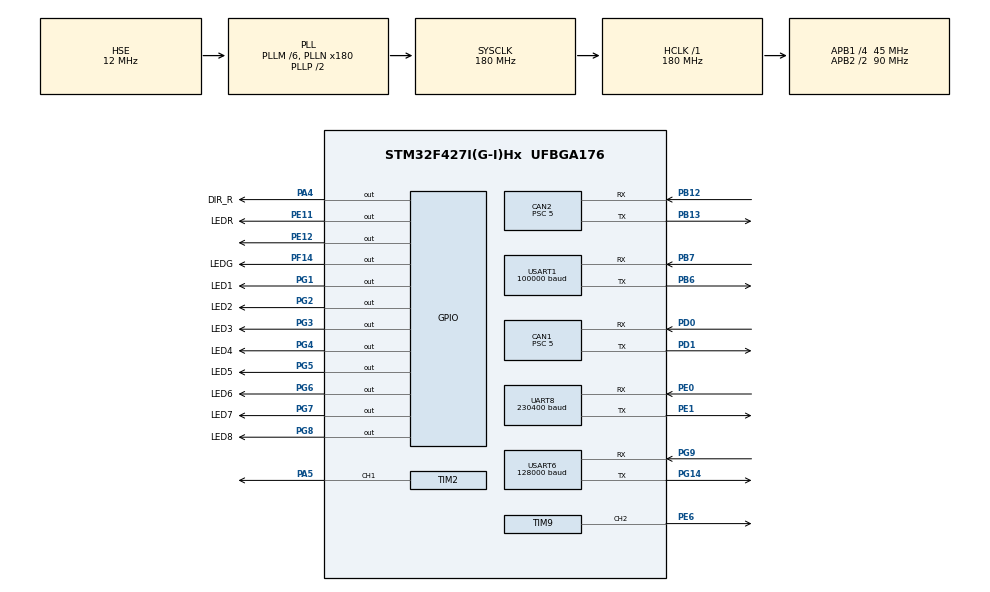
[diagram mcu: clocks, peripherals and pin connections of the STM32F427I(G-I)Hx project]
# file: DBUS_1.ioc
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CAN1.ABOM=DISABLE
CAN1.AWUM=DISABLE
CAN1.BS1=CAN_BS1_3TQ
CAN1.BS2=CAN_BS2_5TQ
CAN1.CalculateBaudRate=1000000
CAN1.CalculateTimeBit=1000
CAN1.CalculateTimeQuantum=111.11111111111111
CAN1.Mode=CAN_MODE_NORMAL
CAN1.NART=DISABLE
CAN1.Prescaler=5
CAN1.RFLM=DISABLE
CAN1.SJW=CAN_SJW_1TQ
CAN1.TTCM=DISABLE
CAN1.TXFP=DISABLE
CAN2.ABOM=DISABLE
CAN2.AWUM=DISABLE
CAN2.BS1=CAN_BS1_3TQ
CAN2.BS2=CAN_BS2_5TQ
CAN2.CalculateBaudRate=1000000
CAN2.CalculateTimeBit=1000
CAN2.CalculateTimeQuantum=111.11111111111111
CAN2.Mode=CAN_MODE_NORMAL
CAN2.NART=DISABLE
CAN2.Prescaler=5
CAN2.RFLM=DISABLE
CAN2.SJW=CAN_SJW_1TQ
CAN2.TTCM=DISABLE
CAN2.TXFP=DISABLE
Dma.Request0=UART8_RX
Dma.Request1=USART1_RX
Dma.Request2=USART6_RX
Dma.Request3=USART6_TX
Dma.UART8_RX.0.Direction=DMA_PERIPH_TO_MEMORY
Dma.UART8_RX.0.FIFOMode=DMA_FIFOMODE_DISABLE
Dma.UART8_RX.0.Instance=DMA1_Stream6
Dma.UART8_RX.0.MemDataAlignment=DMA_MDATAALIGN_BYTE
Dma.UART8_RX.0.MemInc=DMA_MINC_ENABLE
Dma.UART8_RX.0.Mode=DMA_NORMAL
Dma.UART8_RX.0.PeriphDataAlignment=DMA_PDATAALIGN_BYTE
Dma.UART8_RX.0.PeriphInc=DMA_PINC_DISABLE
Dma.UART8_RX.0.Priority=DMA_PRIORITY_VERY_HIGH
Dma.USART1_RX.1.Direction=DMA_PERIPH_TO_MEMORY
Dma.USART1_RX.1.FIFOMode=DMA_FIFOMODE_DISABLE
Dma.USART1_RX.1.Instance=DMA2_Stream2
Dma.USART1_RX.1.MemDataAlignment=DMA_MDATAALIGN_BYTE
Dma.USART1_RX.1.MemInc=DMA_MINC_ENABLE
Dma.USART1_RX.1.Mode=DMA_NORMAL
Dma.USART1_RX.1.PeriphDataAlignment=DMA_PDATAALIGN_BYTE
Dma.USART1_RX.1.PeriphInc=DMA_PINC_DISABLE
Dma.USART1_RX.1.Priority=DMA_PRIORITY_LOW
Dma.USART6_RX.2.Direction=DMA_PERIPH_TO_MEMORY
Dma.USART6_RX.2.FIFOMode=DMA_FIFOMODE_DISABLE
Dma.USART6_RX.2.Instance=DMA2_Stream1
Dma.USART6_RX.2.MemDataAlignment=DMA_MDATAALIGN_BYTE
Dma.USART6_RX.2.MemInc=DMA_MINC_ENABLE
Dma.USART6_RX.2.Mode=DMA_NORMAL
Dma.USART6_RX.2.PeriphDataAlignment=DMA_PDATAALIGN_BYTE
Dma.USART6_RX.2.PeriphInc=DMA_PINC_DISABLE
Dma.USART6_RX.2.Priority=DMA_PRIORITY_LOW
Dma.USART6_TX.3.Direction=DMA_MEMORY_TO_PERIPH
Dma.USART6_TX.3.FIFOMode=DMA_FIFOMODE_DISABLE
Dma.USART6_TX.3.Instance=DMA2_Stream6
Dma.USART6_TX.3.MemDataAlignment=DMA_MDATAALIGN_BYTE
Dma.USART6_TX.3.MemInc=DMA_MINC_ENABLE
Dma.USART6_TX.3.Mode=DMA_NORMAL
Dma.USART6_TX.3.PeriphDataAlignment=DMA_PDATAALIGN_BYTE
Dma.USART6_TX.3.PeriphInc=DMA_PINC_DISABLE
Dma.USART6_TX.3.Priority=DMA_PRIORITY_LOW
FREERTOS.HEAP_NUMBER=4
FREERTOS.INCLUDE_eTaskGetState=1
FREERTOS.INCLUDE_pcTaskGetTaskName=0
FREERTOS.INCLUDE_uxTaskGetStackHighWaterMark=1
FREERTOS.INCLUDE_uxTaskGetStackHighWaterMark2=0
FREERTOS.INCLUDE_uxTaskPriorityGet=1
FREERTOS.INCLUDE_vTaskCleanUpResources=0
FREERTOS.INCLUDE_vTaskDelay=1
FREERTOS.INCLUDE_vTaskDelayUntil=1
FREERTOS.INCLUDE_vTaskDelete=1
FREERTOS.INCLUDE_vTaskPrioritySet=1
FREERTOS.INCLUDE_vTaskSuspend=1
FREERTOS.INCLUDE_xEventGroupSetBitFromISR=0
FREERTOS.INCLUDE_xQueueGetMutexHolder=1
FREERTOS.INCLUDE_xSemaphoreGetMutexHolder=0
FREERTOS.INCLUDE_xTaskAbortDelay=0
FREERTOS.INCLUDE_xTaskGetCurrentTaskHandle=1
FREERTOS.INCLUDE_xTaskGetHandle=0
FREERTOS.INCLUDE_xTaskGetSchedulerState=1
FREERTOS.INCLUDE_xTaskResumeFromISR=1
FREERTOS.INCLUDE_xTimerPendFunctionCall=1
FREERTOS.Tasks01=recvRemote,24,512,RecvRemote,Default,NULL,Dynamic,NULL,NULL;defaultTask,24,512,StartDefaultTask,Default,NULL,Dynamic,NULL,NULL;RobotMove,24,512,StartRobotMove,Default,NULL,Dynamic,NULL,NULL
FREERTOS.configCHECK_FOR_STACK_OVERFLOW=0
FREERTOS.configENABLE_BACKWARD_COMPATIBILITY=1
FREERTOS.configENABLE_FPU=0
FREERTOS.configGENERATE_RUN_TIME_STATS=0
FREERTOS.configIDLE_SHOULD_YIELD=1
FREERTOS.configLIBRARY_LOWEST_INTERRUPT_PRIORITY=15
FREERTOS.configLIBRARY_MAX_SYSCALL_INTERRUPT_PRIORITY=5
FREERTOS.configMAX_CO_ROUTINE_PRIORITIES=2
FREERTOS.configMAX_TASK_NAME_LEN=16
FREERTOS.configMINIMAL_STACK_SIZE=128
FREERTOS.configQUEUE_REGISTRY_SIZE=8
FREERTOS.configRECORD_STACK_HIGH_ADDRESS=0
FREERTOS.configTICK_RATE_HZ=1000
FREERTOS.configTIMER_QUEUE_LENGTH=10
FREERTOS.configTIMER_TASK_PRIORITY=2
FREERTOS.configTIMER_TASK_STACK_DEPTH=256
FREERTOS.configTOTAL_HEAP_SIZE=15360
FREERTOS.configUSE_APPLICATION_TASK_TAG=0
FREERTOS.configUSE_COUNTING_SEMAPHORES=1
FREERTOS.configUSE_CO_ROUTINES=0
FREERTOS.configUSE_DAEMON_TASK_STARTUP_HOOK=0
FREERTOS.configUSE_IDLE_HOOK=0
FREERTOS.configUSE_MALLOC_FAILED_HOOK=0
FREERTOS.configUSE_MUTEXES=1
FREERTOS.configUSE_NEWLIB_REENTRANT=0
FREERTOS.configUSE_OS2_EVENTFLAGS_FROM_ISR=1
FREERTOS.configUSE_OS2_MUTEX=1
FREERTOS.configUSE_OS2_THREAD_ENUMERATE=1
FREERTOS.configUSE_OS2_THREAD_FLAGS=1
FREERTOS.configUSE_OS2_THREAD_SUSPEND_RESUME=1
FREERTOS.configUSE_OS2_TIMER=1
FREERTOS.configUSE_POSIX_ERRNO=0
FREERTOS.configUSE_PREEMPTION=1
FREERTOS.configUSE_RECURSIVE_MUTEXES=1
FREERTOS.configUSE_STATS_FORMATTING_FUNCTIONS=0
FREERTOS.configUSE_TASK_NOTIFICATIONS=1
FREERTOS.configUSE_TICKLESS_IDLE=0
FREERTOS.configUSE_TICK_HOOK=0
FREERTOS.configUSE_TRACE_FACILITY=1
FREERTOS.copyHeapFile=1
Mcu.Family=STM32F4
Mcu.Name=STM32F427I(G-I)Hx
Mcu.Package=UFBGA176
NVIC.CAN1_RX0_IRQn=true\:1\:0\:true\:false\:true\:false\:true\:true\:true
NVIC.CAN1_RX1_IRQn=true\:1\:0\:true\:false\:true\:false\:true\:true\:true
NVIC.CAN2_RX0_IRQn=true\:1\:0\:true\:false\:true\:false\:true\:true\:true
NVIC.CAN2_RX1_IRQn=true\:1\:0\:true\:false\:true\:false\:true\:true\:true
NVIC.DMA1_Stream6_IRQn=true\:5\:0\:false\:false\:true\:true\:false\:true\:true
NVIC.DMA2_Stream1_IRQn=true\:5\:0\:false\:false\:true\:true\:false\:true\:true
NVIC.DMA2_Stream2_IRQn=true\:5\:0\:false\:false\:true\:false\:true\:true\:true
NVIC.DMA2_Stream6_IRQn=true\:5\:0\:false\:false\:true\:true\:false\:true\:true
NVIC.PriorityGroup=NVIC_PRIORITYGROUP_4
NVIC.TIM6_DAC_IRQn=true\:15\:0\:false\:false\:true\:false\:true\:true\:true
NVIC.TIM7_IRQn=true\:5\:0\:false\:false\:true\:true\:true\:true\:true
NVIC.TimeBase=TIM6_DAC_IRQn
NVIC.TimeBaseIP=TIM6
NVIC.UART8_IRQn=true\:5\:0\:true\:false\:true\:true\:true\:true\:true
NVIC.USART1_IRQn=true\:5\:0\:true\:false\:true\:true\:true\:true\:true
NVIC.USART6_IRQn=true\:5\:0\:false\:false\:true\:true\:true\:true\:true
PA13.Mode=Serial_Wire
PA13.Signal=SYS_JTMS-SWDIO
PA14.Mode=Serial_Wire
PA14.Signal=SYS_JTCK-SWCLK
PA4.GPIO_Label=DIR_R
PA4.GPIO_ModeDefaultOutputPP=GPIO_MODE_OUTPUT_PP
PA4.GPIO_PuPd=GPIO_PULLUP
PA4.PinState=GPIO_PIN_SET
PA4.Signal=GPIO_Output
PA5.Signal=S_TIM2_CH1_ETR
PB12.Mode=CAN_Activate
PB12.Signal=CAN2_RX
PB13.Mode=CAN_Activate
PB13.Signal=CAN2_TX
PB6.Mode=Asynchronous
PB6.Signal=USART1_TX
PB7.Mode=Asynchronous
PB7.Signal=USART1_RX
PD0.Mode=CAN_Activate
PD0.Signal=CAN1_RX
PD1.Mode=CAN_Activate
PD1.Signal=CAN1_TX
PE0.Mode=Asynchronous
PE0.Signal=UART8_RX
PE1.Mode=Asynchronous
PE1.Signal=UART8_TX
PE11.GPIO_Label=LEDR
PE11.Signal=GPIO_Output
PE12.GPIO_PuPd=GPIO_PULLUP
PE12.PinState=GPIO_PIN_SET
PE12.Signal=GPIO_Output
PE6.Signal=S_TIM9_CH2
PE7.Signal=UART7_RX
PE8.Signal=UART7_TX
PF14.GPIO_Label=LEDG
PF14.Signal=GPIO_Output
PG1.GPIO_Label=LED1
PG1.PinState=GPIO_PIN_SET
PG1.Signal=GPIO_Output
PG14.Mode=Asynchronous
PG14.Signal=USART6_TX
PG2.GPIO_Label=LED2
PG2.PinState=GPIO_PIN_SET
PG2.Signal=GPIO_Output
PG3.GPIO_Label=LED3
PG3.PinState=GPIO_PIN_SET
PG3.Signal=GPIO_Output
PG4.GPIO_Label=LED4
PG4.PinState=GPIO_PIN_SET
PG4.Signal=GPIO_Output
PG5.GPIO_Label=LED5
PG5.PinState=GPIO_PIN_SET
PG5.Signal=GPIO_Output
PG6.GPIO_Label=LED6
PG6.PinState=GPIO_PIN_SET
PG6.Signal=GPIO_Output
PG7.GPIO_Label=LED7
PG7.PinState=GPIO_PIN_SET
PG7.Signal=GPIO_Output
PG8.GPIO_Label=LED8
PG8.PinState=GPIO_PIN_SET
PG8.Signal=GPIO_Output
PG9.Mode=Asynchronous
PG9.Signal=USART6_RX
PH0/OSC_IN.Mode=HSE-External-Oscillator
PH0/OSC_IN.Signal=RCC_OSC_IN
PH1/OSC_OUT.Mode=HSE-External-Oscillator
PH1/OSC_OUT.Signal=RCC_OSC_OUT
ProjectManager.HeapSize=0x200
ProjectManager.StackSize=0x400
ProjectManager.TargetToolchain=STM32CubeIDE
RCC.48MHZClocksFreq_Value=90000000
RCC.AHBFreq_Value=180000000
RCC.APB1CLKDivider=RCC_HCLK_DIV4
RCC.APB1Freq_Value=45000000
RCC.APB1TimFreq_Value=90000000
RCC.APB2CLKDivider=RCC_HCLK_DIV2
RCC.APB2Freq_Value=90000000
RCC.APB2TimFreq_Value=180000000
RCC.CortexFreq_Value=180000000
RCC.FLatency=FLASH_LATENCY_5
RCC.HCLKFreq_Value=180000000
RCC.HSE_VALUE=12000000
RCC.HSI_VALUE=16000000
RCC.LSE_VALUE=32768
RCC.PLLM=6
RCC.PLLN=180
RCC.PLLSourceVirtual=RCC_PLLSOURCE_HSE
RCC.PWREXT_OverDrive=PWREXT_OverDrive_ACTIVATED
RCC.PWR_Regulator_Voltage_Scale=PWR_REGULATOR_VOLTAGE_SCALE1
RCC.SYSCLKFreq_VALUE=180000000
RCC.SYSCLKSource=RCC_SYSCLKSOURCE_PLLCLK
RCC.VCOOutputFreq_Value=360000000
SH.S_TIM2_CH1_ETR.0=TIM2_CH1,PWM Generation1 CH1
SH.S_TIM9_CH2.0=TIM9_CH2,PWM Generation2 CH2
TIM2.Channel-PWM\ Generation1\ CH1=TIM_CHANNEL_1
TIM2.Period=750-1
TIM2.Prescaler=45-1
TIM7.AutoReloadPreload=TIM_AUTORELOAD_PRELOAD_DISABLE
TIM7.CounterMode=TIM_COUNTERMODE_UP
TIM7.Period=1000 - 1
TIM7.Prescaler=180
TIM7.TIM_MasterOutputTrigger=TIM_TRGO_RESET
TIM9.Channel-PWM\ Generation2\ CH2=TIM_CHANNEL_2
TIM9.Period=15-1
TIM9.Prescaler=10-1
UART8.BaudRate=230400
UART8.Mode=MODE_TX_RX
UART8.OverSampling=UART_OVERSAMPLING_16
UART8.Parity=PARITY_NONE
UART8.StopBits=UART_STOPBITS_1
UART8.VirtualMode=Asynchronous
UART8.WordLength=WORDLENGTH_8B
USART1.BaudRate=100000
USART1.VirtualMode=VM_ASYNC
USART1.WordLength=WORDLENGTH_9B
USART6.BaudRate=128000
USART6.VirtualMode=VM_ASYNC
VP_FREERTOS_VS_CMSIS_V2.Mode=CMSIS_V2
VP_SYS_VS_tim6.Mode=TIM6
VP_TIM7_VS_ClockSourceINT.Mode=Enable_Timer
board=custom

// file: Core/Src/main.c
/* USER CODE BEGIN Header */
/**
  ******************************************************************************
  * @file           : main.c
  * @brief          : Main program body
  ******************************************************************************
  * @attention
  *
  * Copyright (c) 2024 STMicroelectronics.
  * All rights reserved.
  *
  * This software is licensed under terms that can be found in the LICENSE file
  * in the root directory of this software component.
  * If no LICENSE file comes with this software, it is provided AS-IS.
  *
  ******************************************************************************
  */
/* USER CODE END Header */
#include "main.h"
#include "cmsis_os.h"
#include "can.h"
#include "dma.h"
#include "tim.h"
#include "usart.h"
#include "gpio.h"

/* USER CODE BEGIN Includes */
#include "RobotMain.h"
/* USER CODE END Includes */

void SystemClock_Config(void);
void MX_FREERTOS_Init(void);

/* USER CODE BEGIN 0 */
void SetM3508Can1Fifo0Filter()
{
    CAN_FilterTypeDef filter;
    filter.FilterBank = 0; //筛�?�器组编�????
    filter.FilterMode = CAN_FILTERMODE_IDMASK; //ID掩码模式
    filter.FilterScale = CAN_FILTERSCALE_32BIT; //32位长�????
    //接收�????有帧
    filter.FilterIdHigh = 0x0000;
    filter.FilterIdLow = 0x0000;
    filter.FilterMaskIdHigh = 0x0000;
    filter.FilterMaskIdLow = 0x0000;

    filter.FilterFIFOAssignment = CAN_RX_FIFO0;
    filter.FilterActivation = ENABLE;
    filter.SlaveStartFilterBank = 14;
    HAL_CAN_ConfigFilter(&hcan1, &filter);
}

void SetM3508Can1Fifo1Filter()
{
    CAN_FilterTypeDef filter;
    filter.FilterBank = 1; //筛�?�器组编�????
    filter.FilterMode = CAN_FILTERMODE_IDMASK; //ID掩码模式
    filter.FilterScale = CAN_FILTERSCALE_32BIT; //32位长�????
    //接收�????有帧
    filter.FilterIdHigh = 0x0000;
    filter.FilterIdLow = 0x0000;
    filter.FilterMaskIdHigh = 0x0000;
    filter.FilterMaskIdLow = 0x0000;

    filter.FilterFIFOAssignment = CAN_RX_FIFO1;
    filter.FilterActivation = ENABLE;
    filter.SlaveStartFilterBank = 14;
    HAL_CAN_ConfigFilter(&hcan1, &filter);
}

void SetM3508Can2Fifo0Filter()
{
    CAN_FilterTypeDef filter;
    filter.FilterBank = 14; //筛�?�器组编�????
    filter.FilterMode = CAN_FILTERMODE_IDMASK; //ID掩码模式
    filter.FilterScale = CAN_FILTERSCALE_32BIT; //32位长�????
    //接收�????有帧
    filter.FilterIdHigh = 0x0000;
    filter.FilterIdLow = 0x0000;
    filter.FilterMaskIdHigh = 0x0000;
    filter.FilterMaskIdLow = 0x0000;

    filter.FilterFIFOAssignment = CAN_RX_FIFO0;
    filter.FilterActivation = ENABLE;
    filter.SlaveStartFilterBank = 14;
    HAL_CAN_ConfigFilter(&hcan2, &filter);
}

void SetM3508Can2Fifo1Filter()
{
    CAN_FilterTypeDef filter;
    filter.FilterBank = 15; //筛�?�器组编�????
    filter.FilterMode = CAN_FILTERMODE_IDMASK; //ID掩码模式
    filter.FilterScale = CAN_FILTERSCALE_32BIT; //32位长�????
    //接收�????有帧
    filter.FilterIdHigh = 0x0000;
    filter.FilterIdLow = 0x0000;
    filter.FilterMaskIdHigh = 0x0000;
    filter.FilterMaskIdLow = 0x0000;

    filter.FilterFIFOAssignment = CAN_RX_FIFO1;
    filter.FilterActivation = ENABLE;
    filter.SlaveStartFilterBank = 14;
    HAL_CAN_ConfigFilter(&hcan2, &filter);
}

void M3508CanInit()
{
    SetM3508Can1Fifo0Filter();
    SetM3508Can1Fifo1Filter();

    SetM3508Can2Fifo0Filter();
    SetM3508Can2Fifo1Filter();

    HAL_CAN_Start(&hcan1);
    HAL_CAN_Start(&hcan2);
    //�????启Can接收消息中断
    __HAL_CAN_ENABLE_IT(&hcan1, CAN_IT_RX_FIFO0_MSG_PENDING);
    __HAL_CAN_ENABLE_IT(&hcan1, CAN_IT_RX_FIFO1_MSG_PENDING);

    __HAL_CAN_ENABLE_IT(&hcan2, CAN_IT_RX_FIFO0_MSG_PENDING);
    __HAL_CAN_ENABLE_IT(&hcan2, CAN_IT_RX_FIFO1_MSG_PENDING);
}
/* USER CODE END 0 */

int main(void)
{

  /* MCU Configuration--------------------------------------------------------*/

  /* Reset of all peripherals, Initializes the Flash interface and the Systick. */
  HAL_Init();

  /* Configure the system clock */
  SystemClock_Config();

  /* Initialize all configured peripherals */
  MX_GPIO_Init();
  MX_DMA_Init();
  MX_CAN1_Init();
  MX_TIM7_Init();
  MX_UART8_Init();
  MX_CAN2_Init();
  MX_USART1_UART_Init();
  MX_TIM2_Init();
  MX_USART6_UART_Init();
  MX_TIM9_Init();
  /* USER CODE BEGIN 2 */

    RobotInit();
    M3508CanInit();

    HAL_TIM_Base_Start_IT(&htim7); //每隔1ms tick�???�???

  /* USER CODE END 2 */

  /* Init scheduler */
  osKernelInitialize();

  /* Call init function for freertos objects (in freertos.c) */
  MX_FREERTOS_Init();

  /* Start scheduler */
  osKernelStart();

  /* We should never get here as control is now taken by the scheduler */
  /* Infinite loop */
  while (1)
  {

  }
}

void SystemClock_Config(void)
{
  RCC_OscInitTypeDef RCC_OscInitStruct = {0};
  RCC_ClkInitTypeDef RCC_ClkInitStruct = {0};

  /** Configure the main internal regulator output voltage
  */
  __HAL_RCC_PWR_CLK_ENABLE();
  __HAL_PWR_VOLTAGESCALING_CONFIG(PWR_REGULATOR_VOLTAGE_SCALE1);

  /** Initializes the RCC Oscillators according to the specified parameters
  * in the RCC_OscInitTypeDef structure.
  */
  RCC_OscInitStruct.OscillatorType = RCC_OSCILLATORTYPE_HSE;
  RCC_OscInitStruct.HSEState = RCC_HSE_ON;
  RCC_OscInitStruct.PLL.PLLState = RCC_PLL_ON;
  RCC_OscInitStruct.PLL.PLLSource = RCC_PLLSOURCE_HSE;
  RCC_OscInitStruct.PLL.PLLM = 6;
  RCC_OscInitStruct.PLL.PLLN = 180;
  RCC_OscInitStruct.PLL.PLLP = RCC_PLLP_DIV2;
  RCC_OscInitStruct.PLL.PLLQ = 4;
  if (HAL_RCC_OscConfig(&RCC_OscInitStruct) != HAL_OK)
  {
    Error_Handler();
  }

  /** Activate the Over-Drive mode
  */
  if (HAL_PWREx_EnableOverDrive() != HAL_OK)
  {
    Error_Handler();
  }

  /** Initializes the CPU, AHB and APB buses clocks
  */
  RCC_ClkInitStruct.ClockType = RCC_CLOCKTYPE_HCLK|RCC_CLOCKTYPE_SYSCLK
                              |RCC_CLOCKTYPE_PCLK1|RCC_CLOCKTYPE_PCLK2;
  RCC_ClkInitStruct.SYSCLKSource = RCC_SYSCLKSOURCE_PLLCLK;
  RCC_ClkInitStruct.AHBCLKDivider = RCC_SYSCLK_DIV1;
  RCC_ClkInitStruct.APB1CLKDivider = RCC_HCLK_DIV4;
  RCC_ClkInitStruct.APB2CLKDivider = RCC_HCLK_DIV2;

  if (HAL_RCC_ClockConfig(&RCC_ClkInitStruct, FLASH_LATENCY_5) != HAL_OK)
  {
    Error_Handler();
  }
}

void HAL_TIM_PeriodElapsedCallback(TIM_HandleTypeDef *htim)
{
  if (htim->Instance == TIM6) {
    HAL_IncTick();
  }
  /* USER CODE BEGIN Callback 1 */
    if (htim->Instance == TIM7) {
        RobotTick();
    }
  /* USER CODE END Callback 1 */
}

void Error_Handler(void)
{
  __disable_irq();
  while (1)
  {
  }
}

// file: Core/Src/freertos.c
/* USER CODE BEGIN Header */
/**
  ******************************************************************************
  * File Name          : freertos.c
  * Description        : Code for freertos applications
  ******************************************************************************
  * @attention
  *
  * Copyright (c) 2024 STMicroelectronics.
  * All rights reserved.
  *
  * This software is licensed under terms that can be found in the LICENSE file
  * in the root directory of this software component.
  * If no LICENSE file comes with this software, it is provided AS-IS.
  *
  ******************************************************************************
  */
/* USER CODE END Header */

#include "FreeRTOS.h"
#include "task.h"
#include "main.h"
#include "cmsis_os.h"

/* USER CODE BEGIN Includes */
#include "RobotMain.h"

/* USER CODE END Includes */

/* USER CODE BEGIN PTD */
extern uint32_t step_count;

/* USER CODE END PTD */

/* Definitions for recvRemote */
osThreadId_t recvRemoteHandle;
const osThreadAttr_t recvRemote_attributes = {
  .name = "recvRemote",
  .stack_size = 512 * 4,
  .priority = (osPriority_t) osPriorityNormal,
};
/* Definitions for defaultTask */
osThreadId_t defaultTaskHandle;
const osThreadAttr_t defaultTask_attributes = {
  .name = "defaultTask",
  .stack_size = 512 * 4,
  .priority = (osPriority_t) osPriorityNormal,
};
/* Definitions for RobotMove */
osThreadId_t RobotMoveHandle;
const osThreadAttr_t RobotMove_attributes = {
  .name = "RobotMove",
  .stack_size = 512 * 4,
  .priority = (osPriority_t) osPriorityNormal,
};

void RecvRemote(void *argument);
void StartDefaultTask(void *argument);
void StartRobotMove(void *argument);

void MX_FREERTOS_Init(void); /* (MISRA C 2004 rule 8.1) */

void MX_FREERTOS_Init(void) {

  /* Create the thread(s) */
  /* creation of recvRemote */
  recvRemoteHandle = osThreadNew(RecvRemote, NULL, &recvRemote_attributes);

  /* creation of defaultTask */
  defaultTaskHandle = osThreadNew(StartDefaultTask, NULL, &defaultTask_attributes);

  /* creation of RobotMove */
  RobotMoveHandle = osThreadNew(StartRobotMove, NULL, &RobotMove_attributes);

}

void RecvRemote(void *argument)
{
  /* USER CODE BEGIN RecvRemote */
  /* Infinite loop */
    RecvDR16Thread();
  while(1)
  {

  }
  /* USER CODE END RecvRemote */
}

void StartDefaultTask(void *argument)
{
  /* USER CODE BEGIN StartDefaultTask */
  /* Infinite loop */
  //RobotTest();
  RobotMain2();

  /* USER CODE END StartDefaultTask */
}

void StartRobotMove(void *argument)
{
  /* USER CODE BEGIN StartRobotMove */
  /* Infinite loop */
    while(1)
    {
        Robot_DbusMove();
    }

  /* USER CODE END StartRobotMove */
}
